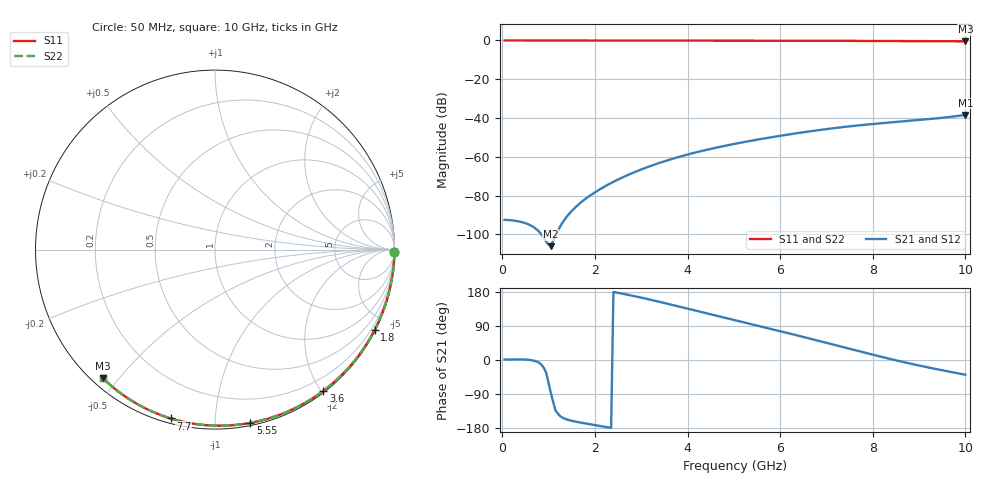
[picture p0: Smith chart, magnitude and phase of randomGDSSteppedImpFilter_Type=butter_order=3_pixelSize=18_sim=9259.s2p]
! freq	dB(S11)	phase(S11)	dB(S12)	phase(S12)
!  dB(S21)	phase(S21)	dB(S22)	phase(S22)
!S-par simulation data
#  GHz  S  DB  R 50
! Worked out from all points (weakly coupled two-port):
!   200 points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, 50 MHz to 10 GHz, reference 50 ohm
!   highest |S21| = -38.42 dB at 10 GHz (marker M1); lowest = -106.1 dB at 1.05 GHz (marker M2)
!   lowest |S11| = -0.4 dB at 10 GHz (marker M3), VSWR 39.50, Z = 1.53 - j22.7 ohm
!   |S11| at or under -10 dB: nowhere
!   |S22| runs from -0.4 to 0.0 dB; largest |S21 - S12| = 0
!   S11 on the Smith chart (normalised r, x): 50 MHz: open; 1.8 GHz: 0.04, -4.19; 3.6 GHz: 0.02, -2.03; 5.55 GHz: 0.02, -1.22; 7.7 GHz: 0.02, -0.77; 10 GHz: 0.03, -0.45
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0.05  -0.00 -0.8  -92.53 1.5  -92.53 1.5  -0.00 -0.8
0.55  -0.01 -8.3  -94.70 0.7  -94.70 0.7  -0.01 -8.3
1.05  -0.02 -15.8  -106.09 -87.9  -106.09 -87.9  -0.02 -15.8
1.75  -0.03 -26.1  -82.54 -166.5  -82.54 -166.5  -0.03 -26.1
1.8  -0.03 -26.9  -81.62 -167.5  -81.62 -167.5  -0.03 -26.9
1.9  -0.04 -28.3  -79.91 -169.6  -79.91 -169.6  -0.04 -28.3
2.05  -0.04 -30.5  -77.57 -172.7  -77.57 -172.7  -0.04 -30.5
2.25  -0.04 -33.4  -74.79 -177.0  -74.79 -177.0  -0.04 -33.4
2.65  -0.05 -39.2  -70.03 173.6  -70.03 173.6  -0.05 -39.2
3  -0.06 -44.1  -66.53 164.5  -66.53 164.5  -0.06 -44.1
3.4  -0.07 -49.7  -63.09 153.3  -63.09 153.3  -0.07 -49.7
3.6  -0.07 -52.5  -61.57 147.5  -61.57 147.5  -0.07 -52.5
3.9  -0.08 -56.6  -59.48 138.5  -59.48 138.5  -0.08 -56.6
4.25  -0.09 -61.4  -57.32 128.0  -57.32 128.0  -0.09 -61.4
5.05  -0.11 -72.0  -53.18 104.1  -53.18 104.1  -0.11 -72.0
5.55  -0.13 -78.4  -50.98 89.3  -50.98 89.3  -0.13 -78.4
6.1  -0.15 -85.4  -48.79 73.0  -48.79 73.0  -0.15 -85.4
6.7  -0.18 -92.8  -46.67 54.7  -46.67 54.7  -0.18 -92.8
7.7  -0.24 -104.8  -43.78 23.2  -43.78 23.2  -0.24 -104.8
8.35  -0.29 -112.3  -42.34 3.5  -42.34 3.5  -0.29 -112.3
9.4  -0.38 -124.3  -40.14 -24.7  -40.14 -24.7  -0.38 -124.3
10  -0.44 -131.1  -38.42 -38.9  -38.42 -38.9  -0.44 -131.1
